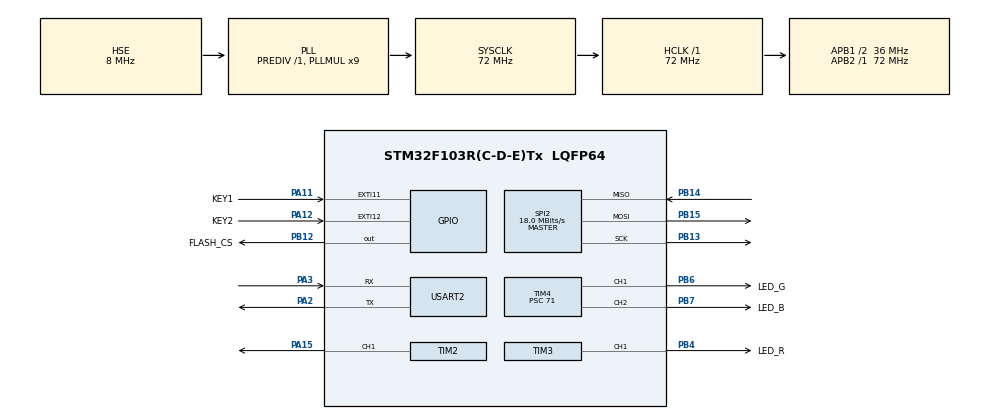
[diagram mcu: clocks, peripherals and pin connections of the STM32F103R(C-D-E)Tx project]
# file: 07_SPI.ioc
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Mcu.Family=STM32F1
Mcu.Name=STM32F103R(C-D-E)Tx
Mcu.Package=LQFP64
NVIC.PriorityGroup=NVIC_PRIORITYGROUP_4
NVIC.USART2_IRQn=true\:0\:0\:false\:false\:true\:true\:true\:true
PA11.GPIO_Label=KEY1
PA11.GPIO_ModeDefaultEXTI=GPIO_MODE_IT_RISING_FALLING
PA11.GPIO_PuPd=GPIO_PULLUP
PA11.Signal=GPXTI11
PA12.GPIO_Label=KEY2
PA12.GPIO_ModeDefaultEXTI=GPIO_MODE_IT_RISING_FALLING
PA12.GPIO_PuPd=GPIO_PULLUP
PA12.Signal=GPXTI12
PA13.Mode=Serial_Wire
PA13.Signal=SYS_JTMS-SWDIO
PA14.Mode=Serial_Wire
PA14.Signal=SYS_JTCK-SWCLK
PA15.GPIO_Speed=GPIO_SPEED_FREQ_HIGH
PA15.Signal=S_TIM2_CH1_ETR
PA2.Mode=Asynchronous
PA2.Signal=USART2_TX
PA3.Mode=Asynchronous
PA3.Signal=USART2_RX
PB12.GPIO_Label=FLASH_CS
PB12.GPIO_PuPd=GPIO_PULLUP
PB12.GPIO_Speed=GPIO_SPEED_FREQ_HIGH
PB12.PinState=GPIO_PIN_SET
PB12.Signal=GPIO_Output
PB13.Mode=Full_Duplex_Master
PB13.Signal=SPI2_SCK
PB14.Mode=Full_Duplex_Master
PB14.Signal=SPI2_MISO
PB15.Mode=Full_Duplex_Master
PB15.Signal=SPI2_MOSI
PB4.GPIO_Label=LED_R
PB4.GPIO_Speed=GPIO_SPEED_FREQ_HIGH
PB4.Signal=S_TIM3_CH1
PB6.GPIO_Label=LED_G
PB6.GPIO_Speed=GPIO_SPEED_FREQ_HIGH
PB6.Signal=S_TIM4_CH1
PB7.GPIO_Label=LED_B
PB7.GPIO_Speed=GPIO_SPEED_FREQ_HIGH
PB7.Signal=S_TIM4_CH2
PD0-OSC_IN.Mode=HSE-External-Oscillator
PD0-OSC_IN.Signal=RCC_OSC_IN
PD1-OSC_OUT.Mode=HSE-External-Oscillator
PD1-OSC_OUT.Signal=RCC_OSC_OUT
ProjectManager.HeapSize=0x200
ProjectManager.StackSize=0x400
ProjectManager.TargetToolchain=MDK-ARM V5.32
RCC.AHBFreq_Value=72000000
RCC.APB1CLKDivider=RCC_HCLK_DIV2
RCC.APB1Freq_Value=36000000
RCC.APB1TimFreq_Value=72000000
RCC.APB2Freq_Value=72000000
RCC.APB2TimFreq_Value=72000000
RCC.HCLKFreq_Value=72000000
RCC.PLLMUL=RCC_PLL_MUL9
RCC.PLLSourceVirtual=RCC_PLLSOURCE_HSE
RCC.SYSCLKFreq_VALUE=72000000
RCC.SYSCLKSource=RCC_SYSCLKSOURCE_PLLCLK
RCC.USBFreq_Value=72000000
SH.S_TIM2_CH1_ETR.0=TIM2_CH1,PWM Generation1 CH1
SH.S_TIM3_CH1.0=TIM3_CH1,PWM Generation1 CH1
SH.S_TIM4_CH1.0=TIM4_CH1,PWM Generation1 CH1
SH.S_TIM4_CH2.0=TIM4_CH2,PWM Generation2 CH2
SPI2.CLKPhase=SPI_PHASE_2EDGE
SPI2.CLKPolarity=SPI_POLARITY_HIGH
SPI2.CalculateBaudRate=18.0 MBits/s
SPI2.Direction=SPI_DIRECTION_2LINES
SPI2.Mode=SPI_MODE_MASTER
SPI2.VirtualType=VM_MASTER
TIM1.AutoReloadPreload=TIM_AUTORELOAD_PRELOAD_ENABLE
TIM1.Period=9999
TIM1.Prescaler=71
TIM2.Channel-PWM\ Generation1\ CH1=TIM_CHANNEL_1
TIM2.OCPolarity_1=TIM_OCPOLARITY_LOW
TIM2.Period=99
TIM2.Prescaler=71
TIM3.AutoReloadPreload=TIM_AUTORELOAD_PRELOAD_ENABLE
TIM3.Channel-PWM\ Generation1\ CH1=TIM_CHANNEL_1
TIM3.OCPolarity_1=TIM_OCPOLARITY_LOW
TIM3.Period=4999
TIM3.Prescaler=71
TIM4.AutoReloadPreload=TIM_AUTORELOAD_PRELOAD_ENABLE
TIM4.Channel-PWM\ Generation1\ CH1=TIM_CHANNEL_1
TIM4.Channel-PWM\ Generation2\ CH2=TIM_CHANNEL_2
TIM4.OCPolarity_1=TIM_OCPOLARITY_LOW
TIM4.OCPolarity_2=TIM_OCPOLARITY_LOW
TIM4.Period=4999
TIM4.Prescaler=71
USART2.VirtualMode=VM_ASYNC
VP_TIM1_VS_ClockSourceINT.Mode=Internal
VP_TIM2_VS_ClockSourceINT.Mode=Internal
VP_TIM3_VS_ClockSourceINT.Mode=Internal
VP_TIM4_VS_ClockSourceINT.Mode=Internal
board=custom

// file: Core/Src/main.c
/* USER CODE BEGIN Header */
/**
  ******************************************************************************
  * @file           : main.c
  * @brief          : Main program body
  ******************************************************************************
  * @attention
  *
  * Copyright (c) 2025 STMicroelectronics.
  * All rights reserved.
  *
  * This software is licensed under terms that can be found in the LICENSE file
  * in the root directory of this software component.
  * If no LICENSE file comes with this software, it is provided AS-IS.
  *
  ******************************************************************************
  */
/* USER CODE END Header */
#include "main.h"
#include "spi.h"
#include "tim.h"
#include "usart.h"
#include "gpio.h"

/* USER CODE BEGIN PV */
uint16_t flashId = 0;
uint8_t writeData[] = {0xFF};
uint8_t readData[128] = {0};
/* USER CODE END PV */

void SystemClock_Config(void);

/* USER CODE BEGIN 0 */

uint8_t flash_read_write(uint8_t data)
{
  uint8_t rxData = 0;
  uint8_t txData = data;
  HAL_SPI_TransmitReceive(&hspi2,&txData,&rxData,1,0xffff);
  return rxData;
}

uint16_t flash_read_id(void)
{
  uint16_t flashId = 0;
  HAL_GPIO_WritePin(FLASH_CS_GPIO_Port,FLASH_CS_Pin,GPIO_PIN_RESET);
  flash_read_write(0x90);
  flash_read_write(0x00);
  flash_read_write(0x00);
  flash_read_write(0x00);
  flash_read_write(0x00);
  flashId = ((flash_read_write(0xff) << 8) & 0xff00);
  flashId = flashId | (flash_read_write(0xff) & 0x00ff);
  HAL_GPIO_WritePin(FLASH_CS_GPIO_Port,FLASH_CS_Pin,GPIO_PIN_SET);
  return flashId;
}

void flash_read_data(uint32_t addr,uint8_t *data,uint16_t len)
{
  uint16_t i = 0;
  HAL_GPIO_WritePin(FLASH_CS_GPIO_Port,FLASH_CS_Pin,GPIO_PIN_RESET);
  flash_read_write(0x03);
  flash_read_write((uint8_t)((addr>>16)&0xff));
  flash_read_write((uint8_t)((addr>>8)&0xff));
  flash_read_write((uint8_t)(addr&0xff));
  for (i = 0; i < len; i++)
  {
    *(data + i) = flash_read_write(0xff);
  }
  HAL_GPIO_WritePin(FLASH_CS_GPIO_Port,FLASH_CS_Pin,GPIO_PIN_SET);
}

void flash_enable(void)
{
  HAL_GPIO_WritePin(FLASH_CS_GPIO_Port,FLASH_CS_Pin,GPIO_PIN_RESET);
  flash_read_write(0x06);
  HAL_GPIO_WritePin(FLASH_CS_GPIO_Port,FLASH_CS_Pin,GPIO_PIN_SET);
}

void flash_disable(void)
{
  HAL_GPIO_WritePin(FLASH_CS_GPIO_Port,FLASH_CS_Pin,GPIO_PIN_RESET);
  flash_read_write(0x04);
  HAL_GPIO_WritePin(FLASH_CS_GPIO_Port,FLASH_CS_Pin,GPIO_PIN_SET);
}

uint8_t flash_read_status_reg(uint8_t regNum)
{
  uint8_t regValue = 0;
  uint8_t regCmd = 0;
  switch (regNum)
  {
    case 1:
      regCmd =0x05;
    break;
    case 2:
      regCmd =0x35;
    break;
    case 3:
      regCmd =0x15;
    break;
  default:
    break;
  }
  HAL_GPIO_WritePin(FLASH_CS_GPIO_Port,FLASH_CS_Pin,GPIO_PIN_RESET);
  flash_read_write(regCmd);
  regValue = flash_read_write(0xff);
  HAL_GPIO_WritePin(FLASH_CS_GPIO_Port,FLASH_CS_Pin,GPIO_PIN_SET);
  return regValue;
}

void flash_wait_idle(void)
{
  while((flash_read_status_reg(1) & 0x01) == 0x01)
  {
    __NOP();
  }
}

void flash_erase(uint32_t sectorNum)
{
  uint32_t addr = sectorNum << 12;
  flash_enable();
  flash_wait_idle();
  HAL_GPIO_WritePin(FLASH_CS_GPIO_Port,FLASH_CS_Pin,GPIO_PIN_RESET);
  flash_read_write(0x20);
  flash_read_write((uint8_t)((addr>>16)&0xff));
  flash_read_write((uint8_t)((addr>>8)&0xff));
  flash_read_write((uint8_t)(addr&0xff));
  HAL_GPIO_WritePin(FLASH_CS_GPIO_Port,FLASH_CS_Pin,GPIO_PIN_SET);
  flash_wait_idle();
}

void flash_write_page(uint32_t addr,uint8_t *data,uint16_t len)
{
  uint16_t i = 0;
  if(len > (uint16_t)(256 - (uint8_t)(addr & 0xff)))
  {
    return;
  }
  flash_enable();
  HAL_GPIO_WritePin(FLASH_CS_GPIO_Port,FLASH_CS_Pin,GPIO_PIN_RESET);
  flash_read_write(0x02);
  flash_read_write((uint8_t)((addr>>16)&0xff));
  flash_read_write((uint8_t)((addr>>8)&0xff));
  flash_read_write((uint8_t)(addr&0xff));
  for(i =0; i<16; i++)
  {
    flash_read_write(*(data+i));
  }
  HAL_GPIO_WritePin(FLASH_CS_GPIO_Port,FLASH_CS_Pin,GPIO_PIN_SET);
  flash_wait_idle();
}

/* USER CODE END 0 */

int main(void)
{

  /* MCU Configuration--------------------------------------------------------*/

  /* Reset of all peripherals, Initializes the Flash interface and the Systick. */
  HAL_Init();

  /* Configure the system clock */
  SystemClock_Config();

  /* Initialize all configured peripherals */
  MX_GPIO_Init();
  MX_TIM1_Init();
  MX_TIM3_Init();
  MX_TIM4_Init();
  MX_TIM2_Init();
  MX_USART2_UART_Init();
  MX_SPI2_Init();

  /* USER CODE BEGIN 2 */
  // flashId = flash_read_id();
  // HAL_UART_Transmit(&huart2,(uint8_t *)&flashId,2,0xffff);
  // flash_erase(0);
  flash_write_page(0x00000000,writeData,sizeof(writeData));
  flash_read_data(0x00000000,readData,sizeof(writeData));
  HAL_UART_Transmit(&huart2,(uint8_t *)&readData,sizeof(writeData),0xffff);
  /* USER CODE END 2 */

  /* Infinite loop */
  /* USER CODE BEGIN WHILE */
  while (1)
  {
    //HAL_UART_Transmit(&huart2,(uint8_t *)&flashId,2,0xffff);
    HAL_Delay(500);
    /* USER CODE END WHILE */

  }
}

void SystemClock_Config(void)
{
  RCC_OscInitTypeDef RCC_OscInitStruct = {0};
  RCC_ClkInitTypeDef RCC_ClkInitStruct = {0};

  /** Initializes the RCC Oscillators according to the specified parameters
  * in the RCC_OscInitTypeDef structure.
  */
  RCC_OscInitStruct.OscillatorType = RCC_OSCILLATORTYPE_HSE;
  RCC_OscInitStruct.HSEState = RCC_HSE_ON;
  RCC_OscInitStruct.HSEPredivValue = RCC_HSE_PREDIV_DIV1;
  RCC_OscInitStruct.HSIState = RCC_HSI_ON;
  RCC_OscInitStruct.PLL.PLLState = RCC_PLL_ON;
  RCC_OscInitStruct.PLL.PLLSource = RCC_PLLSOURCE_HSE;
  RCC_OscInitStruct.PLL.PLLMUL = RCC_PLL_MUL9;
  if (HAL_RCC_OscConfig(&RCC_OscInitStruct) != HAL_OK)
  {
    Error_Handler();
  }

  /** Initializes the CPU, AHB and APB buses clocks
  */
  RCC_ClkInitStruct.ClockType = RCC_CLOCKTYPE_HCLK|RCC_CLOCKTYPE_SYSCLK
                              |RCC_CLOCKTYPE_PCLK1|RCC_CLOCKTYPE_PCLK2;
  RCC_ClkInitStruct.SYSCLKSource = RCC_SYSCLKSOURCE_PLLCLK;
  RCC_ClkInitStruct.AHBCLKDivider = RCC_SYSCLK_DIV1;
  RCC_ClkInitStruct.APB1CLKDivider = RCC_HCLK_DIV2;
  RCC_ClkInitStruct.APB2CLKDivider = RCC_HCLK_DIV1;

  if (HAL_RCC_ClockConfig(&RCC_ClkInitStruct, FLASH_LATENCY_2) != HAL_OK)
  {
    Error_Handler();
  }
}

void Error_Handler(void)
{
  __disable_irq();
  while (1)
  {
  }
}
